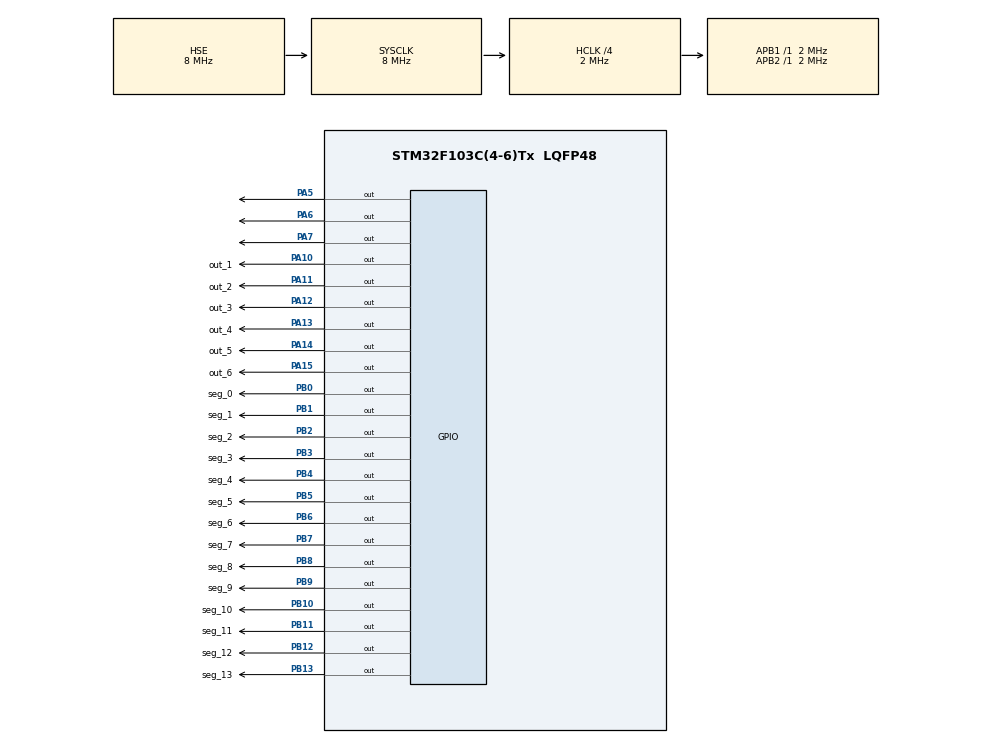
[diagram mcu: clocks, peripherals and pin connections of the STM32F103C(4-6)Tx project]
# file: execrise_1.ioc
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Mcu.Family=STM32F1
Mcu.Name=STM32F103C(4-6)Tx
Mcu.Package=LQFP48
NVIC.PriorityGroup=NVIC_PRIORITYGROUP_4
PA10.GPIO_Label=out_1
PA10.Signal=GPIO_Output
PA11.GPIO_Label=out_2
PA11.Signal=GPIO_Output
PA12.GPIO_Label=out_3
PA12.Signal=GPIO_Output
PA13.GPIO_Label=out_4
PA13.Signal=GPIO_Output
PA14.GPIO_Label=out_5
PA14.Signal=GPIO_Output
PA15.GPIO_Label=out_6
PA15.Signal=GPIO_Output
PA5.Signal=GPIO_Output
PA6.Signal=GPIO_Output
PA7.Signal=GPIO_Output
PB0.GPIO_Label=seg_0
PB0.Signal=GPIO_Output
PB1.GPIO_Label=seg_1
PB1.Signal=GPIO_Output
PB10.GPIO_Label=seg_10
PB10.Signal=GPIO_Output
PB11.GPIO_Label=seg_11
PB11.Signal=GPIO_Output
PB12.GPIO_Label=seg_12
PB12.Signal=GPIO_Output
PB13.GPIO_Label=seg_13
PB13.Signal=GPIO_Output
PB2.GPIO_Label=seg_2
PB2.Signal=GPIO_Output
PB3.GPIO_Label=seg_3
PB3.Signal=GPIO_Output
PB4.GPIO_Label=seg_4
PB4.Signal=GPIO_Output
PB5.GPIO_Label=seg_5
PB5.Signal=GPIO_Output
PB6.GPIO_Label=seg_6
PB6.Signal=GPIO_Output
PB7.GPIO_Label=seg_7
PB7.Signal=GPIO_Output
PB8.GPIO_Label=seg_8
PB8.Signal=GPIO_Output
PB9.GPIO_Label=seg_9
PB9.Signal=GPIO_Output
PD0-OSC_IN.Mode=HSE-External-Oscillator
PD0-OSC_IN.Signal=RCC_OSC_IN
PD1-OSC_OUT.Mode=HSE-External-Oscillator
PD1-OSC_OUT.Signal=RCC_OSC_OUT
ProjectManager.HeapSize=0x200
ProjectManager.StackSize=0x400
ProjectManager.TargetToolchain=STM32CubeIDE
RCC.AHBCLKDivider=RCC_SYSCLK_DIV4
RCC.AHBFreq_Value=2000000
RCC.APB1Freq_Value=2000000
RCC.APB1TimFreq_Value=2000000
RCC.APB2Freq_Value=2000000
RCC.APB2TimFreq_Value=2000000
RCC.HCLKFreq_Value=2000000
RCC.HSEDivPLL=RCC_HSE_PREDIV_DIV2
RCC.PLLSourceVirtual=RCC_PLLSOURCE_HSE
RCC.SYSCLKFreq_VALUE=8000000
RCC.SYSCLKSource=RCC_SYSCLKSOURCE_HSE
RCC.USBFreq_Value=8000000
VP_SYS_VS_ND.Mode=No_Debug
board=custom

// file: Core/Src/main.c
/* USER CODE BEGIN Header */
/**
  ******************************************************************************
  * @file           : main.c
  * @brief          : Main program body
  ******************************************************************************
  * @attention
  *
  * <h2><center>&copy; Copyright (c) 2021 STMicroelectronics.
  * All rights reserved.</center></h2>
  *
  * This software component is licensed by ST under BSD 3-Clause license,
  * the "License"; You may not use this file except in compliance with the
  * License. You may obtain a copy of the License at:
  *                        opensource.org/licenses/BSD-3-Clause
  *
  ******************************************************************************
  */
/* USER CODE END Header */
#include "main.h"

void SystemClock_Config(void);
static void MX_GPIO_Init(void);

/* USER CODE BEGIN 0 */
void cau1 (){
	// LED RED IS ON
	  HAL_GPIO_WritePin(GPIOA, GPIO_PIN_5, GPIO_PIN_RESET);
	  HAL_GPIO_WritePin(GPIOA, GPIO_PIN_6, GPIO_PIN_SET);
	  HAL_Delay(200);

	  // LED GREEN IS ON
	  HAL_GPIO_WritePin(GPIOA, GPIO_PIN_5, GPIO_PIN_SET);
	  HAL_GPIO_WritePin(GPIOA, GPIO_PIN_6, GPIO_PIN_RESET);
	  HAL_Delay(200);
}
//////////////////////////////////////////////
/////////////////////////////////////////////
void cau2(){
	// LED RED IS ON
	HAL_GPIO_WritePin(GPIOA, GPIO_PIN_5, GPIO_PIN_RESET);
	HAL_GPIO_WritePin(GPIOA, GPIO_PIN_6, GPIO_PIN_SET);
	HAL_GPIO_WritePin(GPIOA, GPIO_PIN_7, GPIO_PIN_SET);
	HAL_Delay(500);

	// LED YELLOW IS ON
	HAL_GPIO_WritePin(GPIOA, GPIO_PIN_5, GPIO_PIN_SET);
	HAL_GPIO_WritePin(GPIOA, GPIO_PIN_6, GPIO_PIN_RESET);
	HAL_GPIO_WritePin(GPIOA, GPIO_PIN_7, GPIO_PIN_SET);
	HAL_Delay(200);

	// LED GREEN IS ON
	HAL_GPIO_WritePin(GPIOA, GPIO_PIN_5, GPIO_PIN_SET);
	HAL_GPIO_WritePin(GPIOA, GPIO_PIN_6, GPIO_PIN_SET);
	HAL_GPIO_WritePin(GPIOA, GPIO_PIN_7, GPIO_PIN_RESET);
	HAL_Delay(300);
}
//////////////////////////////////////////////
/////////////////////////////////////////////
void cau3(int status){
	switch (status) {
		case 0: // RED - GREEN - col
			HAL_GPIO_WritePin(GPIOA, out_2_Pin, GPIO_PIN_SET);
			HAL_GPIO_WritePin(GPIOA, out_3_Pin, GPIO_PIN_SET);
			HAL_GPIO_WritePin(GPIOA, out_4_Pin, GPIO_PIN_SET);
			HAL_GPIO_WritePin(GPIOA, out_5_Pin, GPIO_PIN_SET);

			HAL_GPIO_WritePin(GPIOA, out_1_Pin, GPIO_PIN_RESET);
			HAL_GPIO_WritePin(GPIOA, out_6_Pin, GPIO_PIN_RESET);
			break;
		case 1: // RED - YELLOW - row
			HAL_GPIO_WritePin(GPIOA, out_2_Pin, GPIO_PIN_SET);
			HAL_GPIO_WritePin(GPIOA, out_3_Pin, GPIO_PIN_SET);
			HAL_GPIO_WritePin(GPIOA, out_4_Pin, GPIO_PIN_SET);
			HAL_GPIO_WritePin(GPIOA, out_6_Pin, GPIO_PIN_SET);

			HAL_GPIO_WritePin(GPIOA, out_1_Pin, GPIO_PIN_RESET);
			HAL_GPIO_WritePin(GPIOA, out_5_Pin, GPIO_PIN_RESET);
			break;
		case 2: // RED - GREEN - row
			HAL_GPIO_WritePin(GPIOA, out_1_Pin, GPIO_PIN_SET);
			HAL_GPIO_WritePin(GPIOA, out_2_Pin, GPIO_PIN_SET);
			HAL_GPIO_WritePin(GPIOA, out_5_Pin, GPIO_PIN_SET);
			HAL_GPIO_WritePin(GPIOA, out_6_Pin, GPIO_PIN_SET);

			HAL_GPIO_WritePin(GPIOA, out_4_Pin, GPIO_PIN_RESET);
			HAL_GPIO_WritePin(GPIOA, out_3_Pin, GPIO_PIN_RESET);
			break;
		case 3: // RED - YELLOW - col
			HAL_GPIO_WritePin(GPIOA, out_1_Pin, GPIO_PIN_SET);
			HAL_GPIO_WritePin(GPIOA, out_3_Pin, GPIO_PIN_SET);
			HAL_GPIO_WritePin(GPIOA, out_5_Pin, GPIO_PIN_SET);
			HAL_GPIO_WritePin(GPIOA, out_6_Pin, GPIO_PIN_SET);

			HAL_GPIO_WritePin(GPIOA, out_4_Pin, GPIO_PIN_RESET);
			HAL_GPIO_WritePin(GPIOA, out_2_Pin, GPIO_PIN_RESET);
			break;
		default:
			break;
	}
}
//////////////////////////////////////////////
/////////////////////////////////////////////
uint8_t segNumber[10] = {0x40, 0x79, 0x24, 0x30, 0x19, 0x12, 0x02, 0x78, 0x00, 0x10};

void display7SEG_1(uint8_t val){
	HAL_GPIO_WritePin(GPIOB, seg_0_Pin, ((val>>0)&0x01));
	HAL_GPIO_WritePin(GPIOB, seg_1_Pin, ((val>>1)&0x01));
	HAL_GPIO_WritePin(GPIOB, seg_2_Pin, ((val>>2)&0x01));
	HAL_GPIO_WritePin(GPIOB, seg_3_Pin, ((val>>3)&0x01));
	HAL_GPIO_WritePin(GPIOB, seg_4_Pin, ((val>>4)&0x01));
	HAL_GPIO_WritePin(GPIOB, seg_5_Pin, ((val>>5)&0x01));
	HAL_GPIO_WritePin(GPIOB, seg_6_Pin, ((val>>6)&0x01));
}

void cau4(int count){
	display7SEG_1(segNumber[count]);
	HAL_Delay(200);
}

void display7SEG_2(uint8_t number){
	HAL_GPIO_WritePin(GPIOB, seg_7_Pin, ((number>>0)&0x01));
	HAL_GPIO_WritePin(GPIOB, seg_8_Pin, ((number>>1)&0x01));
	HAL_GPIO_WritePin(GPIOB, seg_9_Pin, ((number>>2)&0x01));
	HAL_GPIO_WritePin(GPIOB, seg_10_Pin, ((number>>3)&0x01));
	HAL_GPIO_WritePin(GPIOB, seg_11_Pin, ((number>>4)&0x01));
	HAL_GPIO_WritePin(GPIOB, seg_12_Pin, ((number>>5)&0x01));
	HAL_GPIO_WritePin(GPIOB, seg_13_Pin, ((number>>6)&0x01));
}

void cau5(int count){
	switch (count) {
		case 0:
			count = 1;
			display7SEG_2(segNumber[5]);
			display7SEG_1(segNumber[3]);
			cau3(0);
			HAL_Delay(200);

			display7SEG_2(segNumber[4]);
			display7SEG_1(segNumber[2]);
			HAL_Delay(200);

			display7SEG_2(segNumber[3]);
			display7SEG_1(segNumber[1]);
			HAL_Delay(200);

			display7SEG_2(segNumber[2]);
			display7SEG_1(segNumber[0]);
			HAL_Delay(200);

			display7SEG_2(segNumber[1]);
			display7SEG_1(segNumber[1]);
			cau3(1);
			HAL_Delay(200);

			display7SEG_2(segNumber[0]);
			display7SEG_1(segNumber[0]);
			HAL_Delay(200);

			break;
		case 1:
			count = 0;
			display7SEG_1(segNumber[5]);
			display7SEG_2(segNumber[3]);
			cau3(2);
			HAL_Delay(200);

			display7SEG_1(segNumber[4]);
			display7SEG_2(segNumber[2]);
			HAL_Delay(200);

			display7SEG_1(segNumber[3]);
			display7SEG_2(segNumber[1]);
			HAL_Delay(200);

			display7SEG_1(segNumber[2]);
			display7SEG_2(segNumber[0]);
			HAL_Delay(200);

			display7SEG_1(segNumber[1]);
			display7SEG_2(segNumber[1]);
			cau3(3);
			HAL_Delay(200);

			display7SEG_1(segNumber[0]);
			display7SEG_2(segNumber[0]);
			HAL_Delay(200);

			break;
		default :
			break;
	}
}

/* USER CODE END 0 */

int main(void)
{

  /* MCU Configuration--------------------------------------------------------*/

  /* Reset of all peripherals, Initializes the Flash interface and the Systick. */
  HAL_Init();

  /* Configure the system clock */
  SystemClock_Config();

  /* Initialize all configured peripherals */
  MX_GPIO_Init();

  /* Infinite loop */
  /* USER CODE BEGIN WHILE */
//  int count = 0;
  while (1)
  {
    /* USER CODE END WHILE */

    /* USER CODE BEGIN 3 */
//	  cau1();

//	  cau2();

//	  if(count == 4) count = 0;
//	  cau3();
//	  count ++;

//	  if(count == 10) count = 0;
//	  cau4(count);
//	  count ++;

//	  if(count == 2) count = 0;
//	  cau5(count);
//	  count ++;

	  for(int i = 9; i >= 0; i--){
		  display7SEG_2(segNumber[i]);
		  if (i-6 >= 0)
			  display7SEG_1(segNumber[i-6]);
		  else
			  display7SEG_1(segNumber[i]);
		  HAL_Delay(1000);
	  }

	  for(int i = 9; i >= 0; i--){
		  display7SEG_1(segNumber[i]);
		  if (i-6 >= 0)
			  display7SEG_2(segNumber[i-6]);
		  else
			  display7SEG_2(segNumber[i]);
		  HAL_Delay(1000);
	  }
  }
  /* USER CODE END 3 */
}

void SystemClock_Config(void)
{
  RCC_OscInitTypeDef RCC_OscInitStruct = {0};
  RCC_ClkInitTypeDef RCC_ClkInitStruct = {0};

  /** Initializes the RCC Oscillators according to the specified parameters
  * in the RCC_OscInitTypeDef structure.
  */
  RCC_OscInitStruct.OscillatorType = RCC_OSCILLATORTYPE_HSE;
  RCC_OscInitStruct.HSEState = RCC_HSE_ON;
  RCC_OscInitStruct.PLL.PLLState = RCC_PLL_NONE;
  if (HAL_RCC_OscConfig(&RCC_OscInitStruct) != HAL_OK)
  {
    Error_Handler();
  }
  /** Initializes the CPU, AHB and APB buses clocks
  */
  RCC_ClkInitStruct.ClockType = RCC_CLOCKTYPE_HCLK|RCC_CLOCKTYPE_SYSCLK
                              |RCC_CLOCKTYPE_PCLK1|RCC_CLOCKTYPE_PCLK2;
  RCC_ClkInitStruct.SYSCLKSource = RCC_SYSCLKSOURCE_HSE;
  RCC_ClkInitStruct.AHBCLKDivider = RCC_SYSCLK_DIV4;
  RCC_ClkInitStruct.APB1CLKDivider = RCC_HCLK_DIV1;
  RCC_ClkInitStruct.APB2CLKDivider = RCC_HCLK_DIV1;

  if (HAL_RCC_ClockConfig(&RCC_ClkInitStruct, FLASH_LATENCY_0) != HAL_OK)
  {
    Error_Handler();
  }
}

static void MX_GPIO_Init(void)
{
  GPIO_InitTypeDef GPIO_InitStruct = {0};

  /* GPIO Ports Clock Enable */
  __HAL_RCC_GPIOD_CLK_ENABLE();
  __HAL_RCC_GPIOA_CLK_ENABLE();
  __HAL_RCC_GPIOB_CLK_ENABLE();

  /*Configure GPIO pin Output Level */
  HAL_GPIO_WritePin(GPIOA, GPIO_PIN_5|GPIO_PIN_6|GPIO_PIN_7|out_1_Pin
                          |out_2_Pin|out_3_Pin|out_4_Pin|out_5_Pin
                          |out_6_Pin, GPIO_PIN_RESET);

  /*Configure GPIO pin Output Level */
  HAL_GPIO_WritePin(GPIOB, seg_0_Pin|seg_1_Pin|seg_2_Pin|seg_10_Pin
                          |seg_11_Pin|seg_12_Pin|seg_13_Pin|seg_3_Pin
                          |seg_4_Pin|seg_5_Pin|seg_6_Pin|seg_7_Pin
                          |seg_8_Pin|seg_9_Pin, GPIO_PIN_RESET);

  /*Configure GPIO pins : PA5 PA6 PA7 out_1_Pin
                           out_2_Pin out_3_Pin out_4_Pin out_5_Pin
                           out_6_Pin */
  GPIO_InitStruct.Pin = GPIO_PIN_5|GPIO_PIN_6|GPIO_PIN_7|out_1_Pin
                          |out_2_Pin|out_3_Pin|out_4_Pin|out_5_Pin
                          |out_6_Pin;
  GPIO_InitStruct.Mode = GPIO_MODE_OUTPUT_PP;
  GPIO_InitStruct.Pull = GPIO_NOPULL;
  GPIO_InitStruct.Speed = GPIO_SPEED_FREQ_LOW;
  HAL_GPIO_Init(GPIOA, &GPIO_InitStruct);

  /*Configure GPIO pins : seg_0_Pin seg_1_Pin seg_2_Pin seg_10_Pin
                           seg_11_Pin seg_12_Pin seg_13_Pin seg_3_Pin
                           seg_4_Pin seg_5_Pin seg_6_Pin seg_7_Pin
                           seg_8_Pin seg_9_Pin */
  GPIO_InitStruct.Pin = seg_0_Pin|seg_1_Pin|seg_2_Pin|seg_10_Pin
                          |seg_11_Pin|seg_12_Pin|seg_13_Pin|seg_3_Pin
                          |seg_4_Pin|seg_5_Pin|seg_6_Pin|seg_7_Pin
                          |seg_8_Pin|seg_9_Pin;
  GPIO_InitStruct.Mode = GPIO_MODE_OUTPUT_PP;
  GPIO_InitStruct.Pull = GPIO_NOPULL;
  GPIO_InitStruct.Speed = GPIO_SPEED_FREQ_LOW;
  HAL_GPIO_Init(GPIOB, &GPIO_InitStruct);

}

void Error_Handler(void)
{
  __disable_irq();
  while (1)
  {
  }
}

/************************ (C) COPYRIGHT STMicroelectronics *****END OF FILE****/
